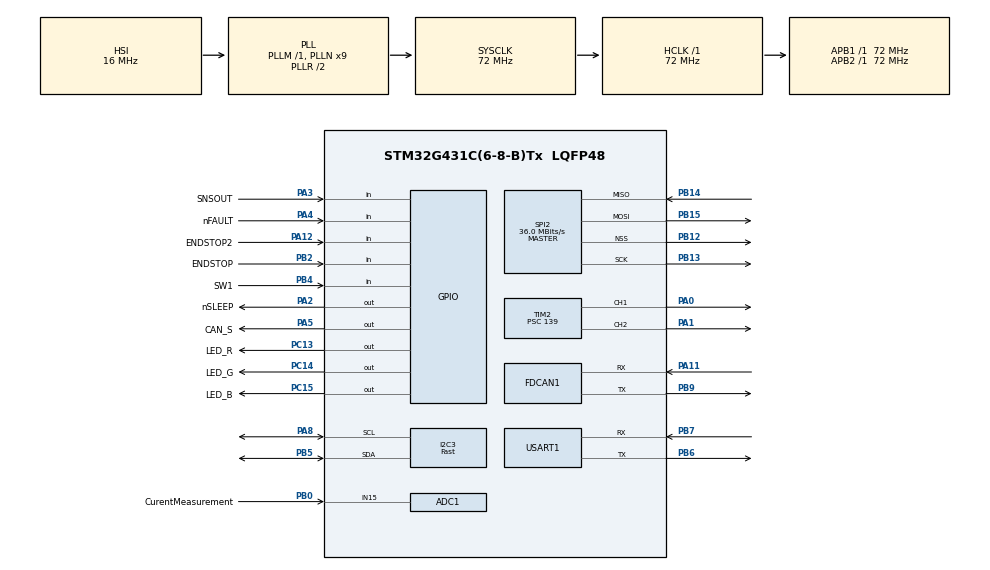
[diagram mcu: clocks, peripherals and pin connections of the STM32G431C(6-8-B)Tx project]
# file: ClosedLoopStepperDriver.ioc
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ADC1.Channel-0\#ChannelRegularConversion=ADC_CHANNEL_15
ADC1.ContinuousConvMode=ENABLE
ADC1.DMAContinuousRequests=ENABLE
ADC1.NbrOfConversionFlag=1
ADC1.OffsetNumber-0\#ChannelRegularConversion=ADC_OFFSET_NONE
ADC1.Overrun=ADC_OVR_DATA_OVERWRITTEN
ADC1.Rank-0\#ChannelRegularConversion=1
ADC1.SamplingTime-0\#ChannelRegularConversion=ADC_SAMPLETIME_640CYCLES_5
ADC1.master=1
Dma.ADC1.0.Direction=DMA_PERIPH_TO_MEMORY
Dma.ADC1.0.EventEnable=DISABLE
Dma.ADC1.0.Instance=DMA1_Channel2
Dma.ADC1.0.MemDataAlignment=DMA_MDATAALIGN_HALFWORD
Dma.ADC1.0.MemInc=DMA_MINC_ENABLE
Dma.ADC1.0.Mode=DMA_CIRCULAR
Dma.ADC1.0.PeriphDataAlignment=DMA_PDATAALIGN_HALFWORD
Dma.ADC1.0.PeriphInc=DMA_PINC_DISABLE
Dma.ADC1.0.Polarity=HAL_DMAMUX_REQ_GEN_RISING
Dma.ADC1.0.Priority=DMA_PRIORITY_LOW
Dma.ADC1.0.RequestNumber=1
Dma.ADC1.0.SignalID=NONE
Dma.ADC1.0.SyncEnable=DISABLE
Dma.ADC1.0.SyncPolarity=HAL_DMAMUX_SYNC_NO_EVENT
Dma.ADC1.0.SyncRequestNumber=1
Dma.ADC1.0.SyncSignalID=NONE
Dma.Request0=ADC1
Dma.Request1=USART1_RX
Dma.Request2=USART1_TX
Dma.USART1_RX.1.Direction=DMA_PERIPH_TO_MEMORY
Dma.USART1_RX.1.EventEnable=DISABLE
Dma.USART1_RX.1.Instance=DMA1_Channel1
Dma.USART1_RX.1.MemDataAlignment=DMA_MDATAALIGN_BYTE
Dma.USART1_RX.1.MemInc=DMA_MINC_ENABLE
Dma.USART1_RX.1.Mode=DMA_CIRCULAR
Dma.USART1_RX.1.PeriphDataAlignment=DMA_PDATAALIGN_BYTE
Dma.USART1_RX.1.PeriphInc=DMA_PINC_DISABLE
Dma.USART1_RX.1.Polarity=HAL_DMAMUX_REQ_GEN_RISING
Dma.USART1_RX.1.Priority=DMA_PRIORITY_VERY_HIGH
Dma.USART1_RX.1.RequestNumber=1
Dma.USART1_RX.1.SignalID=NONE
Dma.USART1_RX.1.SyncEnable=DISABLE
Dma.USART1_RX.1.SyncPolarity=HAL_DMAMUX_SYNC_NO_EVENT
Dma.USART1_RX.1.SyncRequestNumber=1
Dma.USART1_RX.1.SyncSignalID=NONE
Dma.USART1_TX.2.Direction=DMA_MEMORY_TO_PERIPH
Dma.USART1_TX.2.EventEnable=DISABLE
Dma.USART1_TX.2.Instance=DMA2_Channel1
Dma.USART1_TX.2.MemDataAlignment=DMA_MDATAALIGN_BYTE
Dma.USART1_TX.2.MemInc=DMA_MINC_ENABLE
Dma.USART1_TX.2.Mode=DMA_NORMAL
Dma.USART1_TX.2.PeriphDataAlignment=DMA_PDATAALIGN_BYTE
Dma.USART1_TX.2.PeriphInc=DMA_PINC_DISABLE
Dma.USART1_TX.2.Polarity=HAL_DMAMUX_REQ_GEN_RISING
Dma.USART1_TX.2.Priority=DMA_PRIORITY_VERY_HIGH
Dma.USART1_TX.2.RequestNumber=1
Dma.USART1_TX.2.SignalID=NONE
Dma.USART1_TX.2.SyncEnable=DISABLE
Dma.USART1_TX.2.SyncPolarity=HAL_DMAMUX_SYNC_NO_EVENT
Dma.USART1_TX.2.SyncRequestNumber=1
Dma.USART1_TX.2.SyncSignalID=NONE
FDCAN1.AutoRetransmission=ENABLE
FDCAN1.CalculateBaudRateNominal=500000
FDCAN1.CalculateTimeBitNominal=2000
FDCAN1.CalculateTimeQuantumNominal=111.11111111111111
FDCAN1.ClockDivider=FDCAN_CLOCK_DIV1
FDCAN1.DataSyncJumpWidth=1
FDCAN1.DataTimeSeg1=5
FDCAN1.DataTimeSeg2=4
FDCAN1.ExtFiltersNbr=1
FDCAN1.FrameFormat=FDCAN_FRAME_CLASSIC
FDCAN1.NominalPrescaler=8
FDCAN1.NominalSyncJumpWidth=12
FDCAN1.NominalTimeSeg1=15
FDCAN1.NominalTimeSeg2=2
FDCAN1.TransmitPause=ENABLE
FREERTOS.Tasks01=blinkTask,24,128,StartBlinkTask,Default,NULL,Dynamic,NULL,NULL;regulatorTask,24,128,StartRegulatorTask,Default,NULL,Dynamic,NULL,NULL;uartRxTask,24,128,StartUartRxTask,Default,NULL,Dynamic,NULL,NULL;canTxBrakeTask,24,128,StartCanBrakeTask,Default,NULL,Dynamic,NULL,NULL;canTxTestTask,24,128,StartCanTxTestTask,Default,NULL,Dynamic,NULL,NULL;uartTxTask,24,128,StartUartTxTask,Default,NULL,Dynamic,NULL,NULL
FREERTOS.configTOTAL_HEAP_SIZE=8192
I2C3.I2C_Speed_Mode=I2C_Fast
I2C3.Timing=0x00E12573
Mcu.Family=STM32G4
Mcu.Name=STM32G431C(6-8-B)Tx
Mcu.Package=LQFP48
NVIC.DMA1_Channel1_IRQn=true\:5\:0\:false\:false\:true\:true\:false\:true\:true
NVIC.DMA1_Channel2_IRQn=true\:5\:0\:false\:false\:true\:true\:false\:true\:true
NVIC.DMA2_Channel1_IRQn=true\:5\:0\:false\:false\:true\:true\:false\:true\:true
NVIC.FDCAN1_IT0_IRQn=true\:5\:0\:false\:false\:true\:true\:true\:true\:true
NVIC.PriorityGroup=NVIC_PRIORITYGROUP_4
NVIC.TIM1_UP_TIM16_IRQn=true\:15\:0\:false\:false\:true\:false\:false\:true\:true
NVIC.TIM6_DAC_IRQn=true\:15\:0\:true\:false\:true\:true\:true\:true\:true
NVIC.TimeBase=TIM1_UP_TIM16_IRQn
NVIC.TimeBaseIP=TIM1
NVIC.USART1_IRQn=true\:5\:0\:false\:false\:true\:true\:true\:true\:true
PA0.Signal=S_TIM2_CH1
PA1.Signal=S_TIM2_CH2
PA11.GPIO_Speed=GPIO_SPEED_FREQ_VERY_HIGH
PA11.Mode=FDCAN_Activate
PA11.Signal=FDCAN1_RX
PA12.GPIO_Label=ENDSTOP2
PA12.GPIO_PuPd=GPIO_PULLUP
PA12.Signal=GPIO_Input
PA13.Mode=JTAG_4_pins
PA13.Signal=SYS_JTMS-SWDIO
PA14.Mode=JTAG_4_pins
PA14.Signal=SYS_JTCK-SWCLK
PA15.Mode=JTAG_4_pins
PA15.Signal=SYS_JTDI
PA2.GPIO_Label=nSLEEP
PA2.Signal=GPIO_Output
PA3.GPIO_Label=SNSOUT
PA3.Signal=GPIO_Input
PA4.GPIO_Label=nFAULT
PA4.GPIO_PuPd=GPIO_PULLUP
PA4.Signal=GPIO_Input
PA5.GPIO_Label=CAN_S
PA5.Signal=GPIO_Output
PA8.Mode=I2C
PA8.Signal=I2C3_SCL
PB0.GPIO_Label=CurentMeasurement
PB0.Mode=IN15-Single-Ended
PB0.Signal=ADC1_IN15
PB12.Mode=NSS_Signal_Hard_Output
PB12.Signal=SPI2_NSS
PB13.Mode=Full_Duplex_Master
PB13.Signal=SPI2_SCK
PB14.Mode=Full_Duplex_Master
PB14.Signal=SPI2_MISO
PB15.Mode=Full_Duplex_Master
PB15.Signal=SPI2_MOSI
PB2.GPIO_Label=ENDSTOP
PB2.GPIO_PuPd=GPIO_PULLUP
PB2.Signal=GPIO_Input
PB3.Mode=JTAG_4_pins
PB3.Signal=SYS_JTDO-SWO
PB4.GPIO_Label=SW1
PB4.GPIO_PuPd=GPIO_PULLUP
PB4.Signal=GPIO_Input
PB5.Mode=I2C
PB5.Signal=I2C3_SDA
PB6.Mode=Asynchronous
PB6.Signal=USART1_TX
PB7.Mode=Asynchronous
PB7.Signal=USART1_RX
PB9.GPIO_Speed=GPIO_SPEED_FREQ_VERY_HIGH
PB9.Mode=FDCAN_Activate
PB9.Signal=FDCAN1_TX
PC13.GPIO_Label=LED_R
PC13.Signal=GPIO_Output
PC14-OSC32_IN.GPIO_Label=LED_G
PC14-OSC32_IN.Signal=GPIO_Output
PC15-OSC32_OUT.GPIO_Label=LED_B
PC15-OSC32_OUT.Signal=GPIO_Output
PF0-OSC_IN.Mode=HSE-External-Oscillator
PF0-OSC_IN.Signal=RCC_OSC_IN
PF1-OSC_OUT.Mode=HSE-External-Oscillator
PF1-OSC_OUT.Signal=RCC_OSC_OUT
ProjectManager.HeapSize=0x200
ProjectManager.StackSize=0x400
ProjectManager.TargetToolchain=CMake
RCC.ADC12Freq_Value=72000000
RCC.AHBFreq_Value=72000000
RCC.APB1Freq_Value=72000000
RCC.APB1TimFreq_Value=72000000
RCC.APB2Freq_Value=72000000
RCC.APB2TimFreq_Value=72000000
RCC.CortexFreq_Value=72000000
RCC.EXTERNAL_CLOCK_VALUE=12288000
RCC.HCLKFreq_Value=72000000
RCC.HSE_VALUE=24000000
RCC.HSI48_VALUE=48000000
RCC.HSI_VALUE=16000000
RCC.LSE_VALUE=32768
RCC.PLLN=9
RCC.SYSCLKFreq_VALUE=72000000
RCC.SYSCLKSource=RCC_SYSCLKSOURCE_PLLCLK
RCC.USBFreq_Value=72000000
RCC.VCOOutputFreq_Value=144000000
SH.S_TIM2_CH1.0=TIM2_CH1,PWM Generation1 CH1
SH.S_TIM2_CH2.0=TIM2_CH2,PWM Generation2 CH2
SPI2.CalculateBaudRate=36.0 MBits/s
SPI2.Direction=SPI_DIRECTION_2LINES
SPI2.Mode=SPI_MODE_MASTER
SPI2.VirtualNSS=VM_NSSHARD
SPI2.VirtualType=VM_MASTER
TIM2.AutoReloadPreload=TIM_AUTORELOAD_PRELOAD_ENABLE
TIM2.Channel-PWM\ Generation1\ CH1=TIM_CHANNEL_1
TIM2.Channel-PWM\ Generation2\ CH2=TIM_CHANNEL_2
TIM2.PeriodNoDither=10000
TIM2.Prescaler=139
TIM6.PeriodNoDither=2399
TIM6.TIM_MasterOutputTrigger=TIM_TRGO_RESET
TIM8.PeriodNoDither=30
USART1.VirtualMode-Asynchronous=VM_ASYNC
VP_FREERTOS_VS_CMSIS_V2.Mode=CMSIS_V2
VP_SYS_VS_DBSignals.Mode=DisableDeadBatterySignals
VP_SYS_VS_tim1.Mode=TIM1
VP_TIM2_VS_ClockSourceINT.Mode=Internal
VP_TIM6_VS_ClockSourceINT.Mode=Enable_Timer
VP_TIM8_VS_ClockSourceINT.Mode=Internal
board=custom

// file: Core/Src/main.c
/* USER CODE BEGIN Header */
/**
  ******************************************************************************
  * @file           : main.c
  * @brief          : Main program body
  ******************************************************************************
  * @attention
  *
  * Copyright (c) 2026 STMicroelectronics.
  * All rights reserved.
  *
  * This software is licensed under terms that can be found in the LICENSE file
  * in the root directory of this software component.
  * If no LICENSE file comes with this software, it is provided AS-IS.
  *
  ******************************************************************************
  */
/* USER CODE END Header */
#include "main.h"
#include "cmsis_os.h"

/* USER CODE BEGIN Includes */
#include "can.h"
#include "cmsis_os2.h"
#include "enums.h"
#include "libVescCan/VESC_Consts.h"
#include "libVescCan/VESC_Convert.h"
#include "libVescCan/VESC_Structs.h"
#include "regulator.h"
#include "stm32g4xx_hal_fdcan.h"
#include "stm32g4xx_hal_gpio.h"
#include "stm32g4xx_hal_uart.h"
#include "vesc2halcan.h"
#include <stdbool.h>
#include <stdint.h>
#include <stdio.h>
#include <string.h>

/* USER CODE END Includes */

ADC_HandleTypeDef hadc1;
DMA_HandleTypeDef hdma_adc1;

FDCAN_HandleTypeDef hfdcan1;

I2C_HandleTypeDef hi2c3;

SPI_HandleTypeDef hspi2;

TIM_HandleTypeDef htim2;
TIM_HandleTypeDef htim6;
TIM_HandleTypeDef htim8;

UART_HandleTypeDef huart1;
DMA_HandleTypeDef hdma_usart1_rx;
DMA_HandleTypeDef hdma_usart1_tx;

/* Definitions for blinkTask */
osThreadId_t blinkTaskHandle;
const osThreadAttr_t blinkTask_attributes = {
  .name = "blinkTask",
  .priority = (osPriority_t) osPriorityNormal,
  .stack_size = 128 * 4
};
/* Definitions for regulatorTask */
osThreadId_t regulatorTaskHandle;
const osThreadAttr_t regulatorTask_attributes = {
  .name = "regulatorTask",
  .priority = (osPriority_t) osPriorityNormal,
  .stack_size = 128 * 4
};
/* Definitions for uartRxTask */
osThreadId_t uartRxTaskHandle;
const osThreadAttr_t uartRxTask_attributes = {
  .name = "uartRxTask",
  .priority = (osPriority_t) osPriorityNormal,
  .stack_size = 128 * 4
};
/* Definitions for canTxBrakeTask */
osThreadId_t canTxBrakeTaskHandle;
const osThreadAttr_t canTxBrakeTask_attributes = {
  .name = "canTxBrakeTask",
  .priority = (osPriority_t) osPriorityNormal,
  .stack_size = 128 * 4
};
/* Definitions for canTxTestTask */
osThreadId_t canTxTestTaskHandle;
const osThreadAttr_t canTxTestTask_attributes = {
  .name = "canTxTestTask",
  .priority = (osPriority_t) osPriorityNormal,
  .stack_size = 128 * 4
};
/* Definitions for uartTxTask */
osThreadId_t uartTxTaskHandle;
const osThreadAttr_t uartTxTask_attributes = {
  .name = "uartTxTask",
  .priority = (osPriority_t) osPriorityNormal,
  .stack_size = 128 * 4
};
/* USER CODE BEGIN PV */

volatile uint8_t brakeVescID = 0x31;
volatile uint8_t testVescID = 0x85;

volatile float torqueSetpoint = 0;
volatile float torqueValue = 0;

volatile bool brakeCommandActive = false;
volatile bool regulatorON = false;
volatile uint8_t brakeMotorVescCommand = 0;
volatile float brakeMotorVescData = 0;

volatile bool testCommandActive = false;
volatile uint8_t testMotorVescCommand = 0;
volatile float testMotorVescData = 0;

volatile struct MotorStatus brakeMotorStatus;
volatile struct MotorStatus testMotorStatus;

volatile bool uart_started = false;

/* USER CODE END PV */

void SystemClock_Config(void);
static void MX_GPIO_Init(void);
static void MX_DMA_Init(void);
static void MX_FDCAN1_Init(void);
static void MX_TIM8_Init(void);
static void MX_TIM6_Init(void);
static void MX_TIM2_Init(void);
static void MX_SPI2_Init(void);
static void MX_I2C3_Init(void);
static void MX_ADC1_Init(void);
static void MX_USART1_UART_Init(void);
void StartBlinkTask(void *argument);
void StartRegulatorTask(void *argument);
void StartUartRxTask(void *argument);
void StartCanBrakeTask(void *argument);
void StartCanTxTestTask(void *argument);
void StartUartTxTask(void *argument);

int main(void)
{

  /* MCU Configuration--------------------------------------------------------*/

  /* Reset of all peripherals, Initializes the Flash interface and the Systick. */
  HAL_Init();

  /* Configure the system clock */
  SystemClock_Config();

  /* Initialize all configured peripherals */
  MX_GPIO_Init();
  MX_DMA_Init();
  MX_FDCAN1_Init();
  MX_TIM8_Init();
  MX_TIM6_Init();
  MX_TIM2_Init();
  MX_SPI2_Init();
  MX_I2C3_Init();
  MX_ADC1_Init();
  MX_USART1_UART_Init();
  /* USER CODE BEGIN 2 */
  FDCAN_Config(&hfdcan1);

  // HAL_UART_Transmit(&huart1, (uint8_t *)"Hello, UART!\n", 14, HAL_MAX_DELAY);

  // HAL_Delay(10000);
  // UART_TransmitMessageDMA(&huart1, &msg);
  // HAL_Delay(10000);

  UART_StartReceiveDMA(&huart1, &hdma_usart1_rx);
  /* USER CODE END 2 */

  /* Init scheduler */
  osKernelInitialize();

  /* Create the thread(s) */
  /* creation of blinkTask */
  blinkTaskHandle = osThreadNew(StartBlinkTask, NULL, &blinkTask_attributes);

  /* creation of regulatorTask */
  regulatorTaskHandle = osThreadNew(StartRegulatorTask, NULL, &regulatorTask_attributes);

  /* creation of uartRxTask */
  uartRxTaskHandle = osThreadNew(StartUartRxTask, NULL, &uartRxTask_attributes);

  /* creation of canTxBrakeTask */
  canTxBrakeTaskHandle = osThreadNew(StartCanBrakeTask, NULL, &canTxBrakeTask_attributes);

  /* creation of canTxTestTask */
  canTxTestTaskHandle = osThreadNew(StartCanTxTestTask, NULL, &canTxTestTask_attributes);

  /* creation of uartTxTask */
  uartTxTaskHandle = osThreadNew(StartUartTxTask, NULL, &uartTxTask_attributes);

  /* Start scheduler */
  osKernelStart();

  /* We should never get here as control is now taken by the scheduler */

  /* Infinite loop */
  while (1)
  {

  }
}

void SystemClock_Config(void)
{
  RCC_OscInitTypeDef RCC_OscInitStruct = {0};
  RCC_ClkInitTypeDef RCC_ClkInitStruct = {0};

  /** Configure the main internal regulator output voltage
  */
  HAL_PWREx_ControlVoltageScaling(PWR_REGULATOR_VOLTAGE_SCALE1);

  /** Initializes the RCC Oscillators according to the specified parameters
  * in the RCC_OscInitTypeDef structure.
  */
  RCC_OscInitStruct.OscillatorType = RCC_OSCILLATORTYPE_HSI;
  RCC_OscInitStruct.HSIState = RCC_HSI_ON;
  RCC_OscInitStruct.HSICalibrationValue = RCC_HSICALIBRATION_DEFAULT;
  RCC_OscInitStruct.PLL.PLLState = RCC_PLL_ON;
  RCC_OscInitStruct.PLL.PLLSource = RCC_PLLSOURCE_HSI;
  RCC_OscInitStruct.PLL.PLLM = RCC_PLLM_DIV1;
  RCC_OscInitStruct.PLL.PLLN = 9;
  RCC_OscInitStruct.PLL.PLLP = RCC_PLLP_DIV2;
  RCC_OscInitStruct.PLL.PLLQ = RCC_PLLQ_DIV2;
  RCC_OscInitStruct.PLL.PLLR = RCC_PLLR_DIV2;
  if (HAL_RCC_OscConfig(&RCC_OscInitStruct) != HAL_OK)
  {
    Error_Handler();
  }

  /** Initializes the CPU, AHB and APB buses clocks
  */
  RCC_ClkInitStruct.ClockType = RCC_CLOCKTYPE_HCLK|RCC_CLOCKTYPE_SYSCLK
                              |RCC_CLOCKTYPE_PCLK1|RCC_CLOCKTYPE_PCLK2;
  RCC_ClkInitStruct.SYSCLKSource = RCC_SYSCLKSOURCE_PLLCLK;
  RCC_ClkInitStruct.AHBCLKDivider = RCC_SYSCLK_DIV1;
  RCC_ClkInitStruct.APB1CLKDivider = RCC_HCLK_DIV1;
  RCC_ClkInitStruct.APB2CLKDivider = RCC_HCLK_DIV1;

  if (HAL_RCC_ClockConfig(&RCC_ClkInitStruct, FLASH_LATENCY_2) != HAL_OK)
  {
    Error_Handler();
  }
}

static void MX_ADC1_Init(void)
{

  ADC_MultiModeTypeDef multimode = {0};
  ADC_ChannelConfTypeDef sConfig = {0};

  /** Common config
  */
  hadc1.Instance = ADC1;
  hadc1.Init.ClockPrescaler = ADC_CLOCK_SYNC_PCLK_DIV2;
  hadc1.Init.Resolution = ADC_RESOLUTION_12B;
  hadc1.Init.DataAlign = ADC_DATAALIGN_RIGHT;
  hadc1.Init.GainCompensation = 0;
  hadc1.Init.ScanConvMode = ADC_SCAN_DISABLE;
  hadc1.Init.EOCSelection = ADC_EOC_SINGLE_CONV;
  hadc1.Init.LowPowerAutoWait = DISABLE;
  hadc1.Init.ContinuousConvMode = ENABLE;
  hadc1.Init.NbrOfConversion = 1;
  hadc1.Init.DiscontinuousConvMode = DISABLE;
  hadc1.Init.ExternalTrigConv = ADC_SOFTWARE_START;
  hadc1.Init.ExternalTrigConvEdge = ADC_EXTERNALTRIGCONVEDGE_NONE;
  hadc1.Init.DMAContinuousRequests = ENABLE;
  hadc1.Init.Overrun = ADC_OVR_DATA_OVERWRITTEN;
  hadc1.Init.OversamplingMode = DISABLE;
  if (HAL_ADC_Init(&hadc1) != HAL_OK)
  {
    Error_Handler();
  }

  /** Configure the ADC multi-mode
  */
  multimode.Mode = ADC_MODE_INDEPENDENT;
  if (HAL_ADCEx_MultiModeConfigChannel(&hadc1, &multimode) != HAL_OK)
  {
    Error_Handler();
  }

  /** Configure Regular Channel
  */
  sConfig.Channel = ADC_CHANNEL_15;
  sConfig.Rank = ADC_REGULAR_RANK_1;
  sConfig.SamplingTime = ADC_SAMPLETIME_640CYCLES_5;
  sConfig.SingleDiff = ADC_SINGLE_ENDED;
  sConfig.OffsetNumber = ADC_OFFSET_NONE;
  sConfig.Offset = 0;
  if (HAL_ADC_ConfigChannel(&hadc1, &sConfig) != HAL_OK)
  {
    Error_Handler();
  }

}

static void MX_FDCAN1_Init(void)
{

  hfdcan1.Instance = FDCAN1;
  hfdcan1.Init.ClockDivider = FDCAN_CLOCK_DIV1;
  hfdcan1.Init.FrameFormat = FDCAN_FRAME_CLASSIC;
  hfdcan1.Init.Mode = FDCAN_MODE_NORMAL;
  hfdcan1.Init.AutoRetransmission = ENABLE;
  hfdcan1.Init.TransmitPause = ENABLE;
  hfdcan1.Init.ProtocolException = DISABLE;
  hfdcan1.Init.NominalPrescaler = 8;
  hfdcan1.Init.NominalSyncJumpWidth = 12;
  hfdcan1.Init.NominalTimeSeg1 = 15;
  hfdcan1.Init.NominalTimeSeg2 = 2;
  hfdcan1.Init.DataPrescaler = 1;
  hfdcan1.Init.DataSyncJumpWidth = 1;
  hfdcan1.Init.DataTimeSeg1 = 5;
  hfdcan1.Init.DataTimeSeg2 = 4;
  hfdcan1.Init.StdFiltersNbr = 0;
  hfdcan1.Init.ExtFiltersNbr = 1;
  hfdcan1.Init.TxFifoQueueMode = FDCAN_TX_FIFO_OPERATION;
  if (HAL_FDCAN_Init(&hfdcan1) != HAL_OK)
  {
    Error_Handler();
  }

}

static void MX_I2C3_Init(void)
{

  hi2c3.Instance = I2C3;
  hi2c3.Init.Timing = 0x00E12573;
  hi2c3.Init.OwnAddress1 = 0;
  hi2c3.Init.AddressingMode = I2C_ADDRESSINGMODE_7BIT;
  hi2c3.Init.DualAddressMode = I2C_DUALADDRESS_DISABLE;
  hi2c3.Init.OwnAddress2 = 0;
  hi2c3.Init.OwnAddress2Masks = I2C_OA2_NOMASK;
  hi2c3.Init.GeneralCallMode = I2C_GENERALCALL_DISABLE;
  hi2c3.Init.NoStretchMode = I2C_NOSTRETCH_DISABLE;
  if (HAL_I2C_Init(&hi2c3) != HAL_OK)
  {
    Error_Handler();
  }

  /** Configure Analogue filter
  */
  if (HAL_I2CEx_ConfigAnalogFilter(&hi2c3, I2C_ANALOGFILTER_ENABLE) != HAL_OK)
  {
    Error_Handler();
  }

  /** Configure Digital filter
  */
  if (HAL_I2CEx_ConfigDigitalFilter(&hi2c3, 0) != HAL_OK)
  {
    Error_Handler();
  }

}

static void MX_SPI2_Init(void)
{

  /* SPI2 parameter configuration*/
  hspi2.Instance = SPI2;
  hspi2.Init.Mode = SPI_MODE_MASTER;
  hspi2.Init.Direction = SPI_DIRECTION_2LINES;
  hspi2.Init.DataSize = SPI_DATASIZE_4BIT;
  hspi2.Init.CLKPolarity = SPI_POLARITY_LOW;
  hspi2.Init.CLKPhase = SPI_PHASE_1EDGE;
  hspi2.Init.NSS = SPI_NSS_HARD_OUTPUT;
  hspi2.Init.BaudRatePrescaler = SPI_BAUDRATEPRESCALER_2;
  hspi2.Init.FirstBit = SPI_FIRSTBIT_MSB;
  hspi2.Init.TIMode = SPI_TIMODE_DISABLE;
  hspi2.Init.CRCCalculation = SPI_CRCCALCULATION_DISABLE;
  hspi2.Init.CRCPolynomial = 7;
  hspi2.Init.CRCLength = SPI_CRC_LENGTH_DATASIZE;
  hspi2.Init.NSSPMode = SPI_NSS_PULSE_ENABLE;
  if (HAL_SPI_Init(&hspi2) != HAL_OK)
  {
    Error_Handler();
  }

}

static void MX_TIM2_Init(void)
{

  TIM_ClockConfigTypeDef sClockSourceConfig = {0};
  TIM_MasterConfigTypeDef sMasterConfig = {0};
  TIM_OC_InitTypeDef sConfigOC = {0};

  htim2.Instance = TIM2;
  htim2.Init.Prescaler = 139;
  htim2.Init.CounterMode = TIM_COUNTERMODE_UP;
  htim2.Init.Period = 10000;
  htim2.Init.ClockDivision = TIM_CLOCKDIVISION_DIV1;
  htim2.Init.AutoReloadPreload = TIM_AUTORELOAD_PRELOAD_ENABLE;
  if (HAL_TIM_Base_Init(&htim2) != HAL_OK)
  {
    Error_Handler();
  }
  sClockSourceConfig.ClockSource = TIM_CLOCKSOURCE_INTERNAL;
  if (HAL_TIM_ConfigClockSource(&htim2, &sClockSourceConfig) != HAL_OK)
  {
    Error_Handler();
  }
  if (HAL_TIM_PWM_Init(&htim2) != HAL_OK)
  {
    Error_Handler();
  }
  sMasterConfig.MasterOutputTrigger = TIM_TRGO_RESET;
  sMasterConfig.MasterSlaveMode = TIM_MASTERSLAVEMODE_DISABLE;
  if (HAL_TIMEx_MasterConfigSynchronization(&htim2, &sMasterConfig) != HAL_OK)
  {
    Error_Handler();
  }
  sConfigOC.OCMode = TIM_OCMODE_PWM1;
  sConfigOC.Pulse = 0;
  sConfigOC.OCPolarity = TIM_OCPOLARITY_HIGH;
  sConfigOC.OCFastMode = TIM_OCFAST_DISABLE;
  if (HAL_TIM_PWM_ConfigChannel(&htim2, &sConfigOC, TIM_CHANNEL_1) != HAL_OK)
  {
    Error_Handler();
  }
  if (HAL_TIM_PWM_ConfigChannel(&htim2, &sConfigOC, TIM_CHANNEL_2) != HAL_OK)
  {
    Error_Handler();
  }
  HAL_TIM_MspPostInit(&htim2);

}

static void MX_TIM6_Init(void)
{

  TIM_MasterConfigTypeDef sMasterConfig = {0};

  htim6.Instance = TIM6;
  htim6.Init.Prescaler = 0;
  htim6.Init.CounterMode = TIM_COUNTERMODE_UP;
  htim6.Init.Period = 2399;
  htim6.Init.AutoReloadPreload = TIM_AUTORELOAD_PRELOAD_DISABLE;
  if (HAL_TIM_Base_Init(&htim6) != HAL_OK)
  {
    Error_Handler();
  }
  sMasterConfig.MasterOutputTrigger = TIM_TRGO_RESET;
  sMasterConfig.MasterSlaveMode = TIM_MASTERSLAVEMODE_DISABLE;
  if (HAL_TIMEx_MasterConfigSynchronization(&htim6, &sMasterConfig) != HAL_OK)
  {
    Error_Handler();
  }

}

static void MX_TIM8_Init(void)
{

  TIM_ClockConfigTypeDef sClockSourceConfig = {0};
  TIM_MasterConfigTypeDef sMasterConfig = {0};

  htim8.Instance = TIM8;
  htim8.Init.Prescaler = 0;
  htim8.Init.CounterMode = TIM_COUNTERMODE_UP;
  htim8.Init.Period = 30;
  htim8.Init.ClockDivision = TIM_CLOCKDIVISION_DIV1;
  htim8.Init.RepetitionCounter = 0;
  htim8.Init.AutoReloadPreload = TIM_AUTORELOAD_PRELOAD_DISABLE;
  if (HAL_TIM_Base_Init(&htim8) != HAL_OK)
  {
    Error_Handler();
  }
  sClockSourceConfig.ClockSource = TIM_CLOCKSOURCE_INTERNAL;
  if (HAL_TIM_ConfigClockSource(&htim8, &sClockSourceConfig) != HAL_OK)
  {
    Error_Handler();
  }
  sMasterConfig.MasterOutputTrigger = TIM_TRGO_RESET;
  sMasterConfig.MasterOutputTrigger2 = TIM_TRGO2_RESET;
  sMasterConfig.MasterSlaveMode = TIM_MASTERSLAVEMODE_DISABLE;
  if (HAL_TIMEx_MasterConfigSynchronization(&htim8, &sMasterConfig) != HAL_OK)
  {
    Error_Handler();
  }

}

static void MX_USART1_UART_Init(void)
{

  huart1.Instance = USART1;
  huart1.Init.BaudRate = 115200;
  huart1.Init.WordLength = UART_WORDLENGTH_8B;
  huart1.Init.StopBits = UART_STOPBITS_1;
  huart1.Init.Parity = UART_PARITY_NONE;
  huart1.Init.Mode = UART_MODE_TX_RX;
  huart1.Init.HwFlowCtl = UART_HWCONTROL_NONE;
  huart1.Init.OverSampling = UART_OVERSAMPLING_16;
  huart1.Init.OneBitSampling = UART_ONE_BIT_SAMPLE_DISABLE;
  huart1.Init.ClockPrescaler = UART_PRESCALER_DIV1;
  huart1.AdvancedInit.AdvFeatureInit = UART_ADVFEATURE_NO_INIT;
  if (HAL_UART_Init(&huart1) != HAL_OK)
  {
    Error_Handler();
  }
  if (HAL_UARTEx_SetTxFifoThreshold(&huart1, UART_TXFIFO_THRESHOLD_1_8) != HAL_OK)
  {
    Error_Handler();
  }
  if (HAL_UARTEx_SetRxFifoThreshold(&huart1, UART_RXFIFO_THRESHOLD_1_8) != HAL_OK)
  {
    Error_Handler();
  }
  if (HAL_UARTEx_DisableFifoMode(&huart1) != HAL_OK)
  {
    Error_Handler();
  }

}

static void MX_DMA_Init(void)
{

  /* DMA controller clock enable */
  __HAL_RCC_DMAMUX1_CLK_ENABLE();
  __HAL_RCC_DMA1_CLK_ENABLE();
  __HAL_RCC_DMA2_CLK_ENABLE();

  /* DMA interrupt init */
  /* DMA1_Channel1_IRQn interrupt configuration */
  HAL_NVIC_SetPriority(DMA1_Channel1_IRQn, 5, 0);
  HAL_NVIC_EnableIRQ(DMA1_Channel1_IRQn);
  /* DMA1_Channel2_IRQn interrupt configuration */
  HAL_NVIC_SetPriority(DMA1_Channel2_IRQn, 5, 0);
  HAL_NVIC_EnableIRQ(DMA1_Channel2_IRQn);
  /* DMA2_Channel1_IRQn interrupt configuration */
  HAL_NVIC_SetPriority(DMA2_Channel1_IRQn, 5, 0);
  HAL_NVIC_EnableIRQ(DMA2_Channel1_IRQn);

}

static void MX_GPIO_Init(void)
{
  GPIO_InitTypeDef GPIO_InitStruct = {0};

  /* GPIO Ports Clock Enable */
  __HAL_RCC_GPIOC_CLK_ENABLE();
  __HAL_RCC_GPIOF_CLK_ENABLE();
  __HAL_RCC_GPIOA_CLK_ENABLE();
  __HAL_RCC_GPIOB_CLK_ENABLE();

  /*Configure GPIO pin Output Level */
  HAL_GPIO_WritePin(GPIOC, LED_R_Pin|LED_G_Pin|LED_B_Pin, GPIO_PIN_RESET);

  /*Configure GPIO pin Output Level */
  HAL_GPIO_WritePin(GPIOA, nSLEEP_Pin|CAN_S_Pin, GPIO_PIN_RESET);

  /*Configure GPIO pins : LED_R_Pin LED_G_Pin LED_B_Pin */
  GPIO_InitStruct.Pin = LED_R_Pin|LED_G_Pin|LED_B_Pin;
  GPIO_InitStruct.Mode = GPIO_MODE_OUTPUT_PP;
  GPIO_InitStruct.Pull = GPIO_NOPULL;
  GPIO_InitStruct.Speed = GPIO_SPEED_FREQ_LOW;
  HAL_GPIO_Init(GPIOC, &GPIO_InitStruct);

  /*Configure GPIO pins : nSLEEP_Pin CAN_S_Pin */
  GPIO_InitStruct.Pin = nSLEEP_Pin|CAN_S_Pin;
  GPIO_InitStruct.Mode = GPIO_MODE_OUTPUT_PP;
  GPIO_InitStruct.Pull = GPIO_NOPULL;
  GPIO_InitStruct.Speed = GPIO_SPEED_FREQ_LOW;
  HAL_GPIO_Init(GPIOA, &GPIO_InitStruct);

  /*Configure GPIO pin : SNSOUT_Pin */
  GPIO_InitStruct.Pin = SNSOUT_Pin;
  GPIO_InitStruct.Mode = GPIO_MODE_INPUT;
  GPIO_InitStruct.Pull = GPIO_NOPULL;
  HAL_GPIO_Init(SNSOUT_GPIO_Port, &GPIO_InitStruct);

  /*Configure GPIO pins : nFAULT_Pin ENDSTOP2_Pin */
  GPIO_InitStruct.Pin = nFAULT_Pin|ENDSTOP2_Pin;
  GPIO_InitStruct.Mode = GPIO_MODE_INPUT;
  GPIO_InitStruct.Pull = GPIO_PULLUP;
  HAL_GPIO_Init(GPIOA, &GPIO_InitStruct);

  /*Configure GPIO pins : ENDSTOP_Pin SW1_Pin */
  GPIO_InitStruct.Pin = ENDSTOP_Pin|SW1_Pin;
  GPIO_InitStruct.Mode = GPIO_MODE_INPUT;
  GPIO_InitStruct.Pull = GPIO_PULLUP;
  HAL_GPIO_Init(GPIOB, &GPIO_InitStruct);

}

/* USER CODE BEGIN 4 */
void HAL_FDCAN_RxFifo0Callback(FDCAN_HandleTypeDef *hfdcan, uint32_t RxFifo0ITs)
{
  if ((RxFifo0ITs & FDCAN_IT_RX_FIFO0_NEW_MESSAGE) != RESET) {
    FDCAN_RxHeaderTypeDef RxHeader;
    uint8_t RxData[8];

    /* Retrieve Rx messages from RX FIFO0 */
    if (HAL_FDCAN_GetRxMessage(hfdcan, FDCAN_RX_FIFO0, &RxHeader, RxData) != HAL_OK) {
      Error_Handler();
      return;
    }

    uint8_t realID = (uint8_t)RxHeader.Identifier & 0xFF;
    if ( !(realID == brakeVescID || realID == testVescID) )
    {
      return;
    }

    uint8_t message = (uint8_t)((RxHeader.Identifier >> 8) & 0xFF);
    VESC_RawFrame rawFrame;

    halcan2vesc(&rawFrame, &RxHeader, RxData);

    if (realID == brakeVescID)
    {
      switch (message)
      {
        case VESC_COMMAND_STATUS_1:
        {
          VESC_Status_1 status1;

          VESC_convertRawToStatus1(&status1, &rawFrame);
          //Ignore duty because who cares
          brakeMotorStatus.speed = status1.erpm;
          brakeMotorStatus.current = status1.current * 100.0f;
          break;
        }
        case VESC_COMMAND_STATUS_5:
        {
          VESC_Status_5 status5;

          VESC_convertRawToStatus5(&status5, &rawFrame);
          brakeMotorStatus.voltage = status5.voltsIn * 100.0f;
          break;
        }
        default:
        {
          break;
        }
      }
    }
    if (realID == testVescID)
    {
      switch (message)
      {
        case VESC_COMMAND_STATUS_1:
        {
          VESC_Status_1 status1;

          VESC_convertRawToStatus1(&status1, &rawFrame);
          //Ignore duty because who cares
          testMotorStatus.speed = status1.erpm;
          testMotorStatus.current = status1.current * 100.0f;
          break;
        }
        case VESC_COMMAND_STATUS_5:
        {
          VESC_Status_5 status5;

          VESC_convertRawToStatus5(&status5, &rawFrame);
          testMotorStatus.voltage = status5.voltsIn * 100.0f;
          break;
        }
        default:
        {
          break;
        }
      }
    }

  }
}
/* USER CODE END 4 */

void StartBlinkTask(void *argument)
{
  /* USER CODE BEGIN 5 */
  /* Infinite loop */
  for(;;)
  {
    HAL_GPIO_TogglePin(LED_B_GPIO_Port, LED_B_Pin);
    osDelay(1000);
  }
  /* USER CODE END 5 */
}

void StartRegulatorTask(void *argument)
{
  /* USER CODE BEGIN StartRegulatorTask */
  /* Infinite loop */
  for(;;)
  {
    if (regulatorON)
    {
      regulateTorquePI(torqueSetpoint, torqueValue, &brakeMotorVescData);
      if (brakeMotorVescData > 0)
      {
        brakeMotorVescCommand = VESC_COMMAND_SET_CURRENT_BRAKE;
      }
      else
      {
        brakeMotorVescCommand = VESC_COMMAND_SET_CURRENT;
        brakeMotorVescData = -brakeMotorVescData;
      }

      CAN_TransmitVescCommand(&hfdcan1, brakeVescID, brakeMotorVescCommand, brakeMotorVescData);
    }
    else
    {
      resetRegulatorState();
    }
    osDelay(10);
  }
  /* USER CODE END StartRegulatorTask */
}

void StartUartRxTask(void *argument)
{
  /* USER CODE BEGIN StartUartRxTask */
  /// Commands from ESP

  /* Infinite loop */
  for(;;)
  {
    UART_ProcessRxDmaBuffer(&huart1, &hfdcan1, &hdma_usart1_rx);
    osDelay(10);
  }
  /* USER CODE END StartUartRxTask */
}

void StartCanBrakeTask(void *argument)
{
  /* USER CODE BEGIN StartCanBrakeTask */
  /* Infinite loop */
  while (!uart_started)
  {
    osDelay(1000);
  }

  for(;;)
  {
    if (!regulatorON)
    {
      //CAN_TransmitVescCommand(&hfdcan1, brakeVescID, brakeMotorVescCommand, brakeMotorVescData);
    }
    osDelay(100);
  }
  /* USER CODE END StartCanBrakeTask */
}

void StartCanTxTestTask(void *argument)
{
  /* USER CODE BEGIN StartCanTxTestTask */
  /* Infinite loop */
  for(;;)
  {
    // Poprawnie przeportowana obsługa drugiego silnika z nowej płytki
    if(testCommandActive)
    {
        CAN_TransmitVescCommand(&hfdcan1, testVescID, testMotorVescCommand, testMotorVescData);
        //testCommandActive = false;
    }
    osDelay(100);
  }
  /* USER CODE END StartCanTxTestTask */
}

void StartUartTxTask(void *argument)
{
  /* USER CODE BEGIN StartUartTxTask */
  /// Feedback to ESP

  /* Infinite loop */
  for(;;)
  {
    struct Message msg;

    UART_CreateMessage16(&msg, FEEDBACK_BRAKE_MOTOR_SPEED, brakeMotorStatus.speed);
    UART_TransmitMessageDMA(&huart1, &msg);
    UART_CreateMessage16(&msg, FEEDBACK_BRAKE_MOTOR_CURRENT, brakeMotorStatus.current);
    UART_TransmitMessageDMA(&huart1, &msg);
    UART_CreateMessage16(&msg, FEEDBACK_BRAKE_MOTOR_VOLTAGE, brakeMotorStatus.voltage);
    UART_TransmitMessageDMA(&huart1, &msg);

    UART_CreateMessage16(&msg, FEEDBACK_TEST_MOTOR_SPEED, testMotorStatus.speed);
    UART_TransmitMessageDMA(&huart1, &msg);
    UART_CreateMessage16(&msg, FEEDBACK_TEST_MOTOR_CURRENT, testMotorStatus.current);
    UART_TransmitMessageDMA(&huart1, &msg);
    UART_CreateMessage16(&msg, FEEDBACK_TEST_MOTOR_VOLTAGE, testMotorStatus.voltage);
    UART_TransmitMessageDMA(&huart1, &msg);

    osDelay(50);
  }
  /* USER CODE END StartUartTxTask */
}

void HAL_TIM_PeriodElapsedCallback(TIM_HandleTypeDef *htim)
{
  if (htim->Instance == TIM1)
  {
    HAL_IncTick();
  }
}

void Error_Handler(void)
{
  __disable_irq();
  while (1)
  {
  }
}
